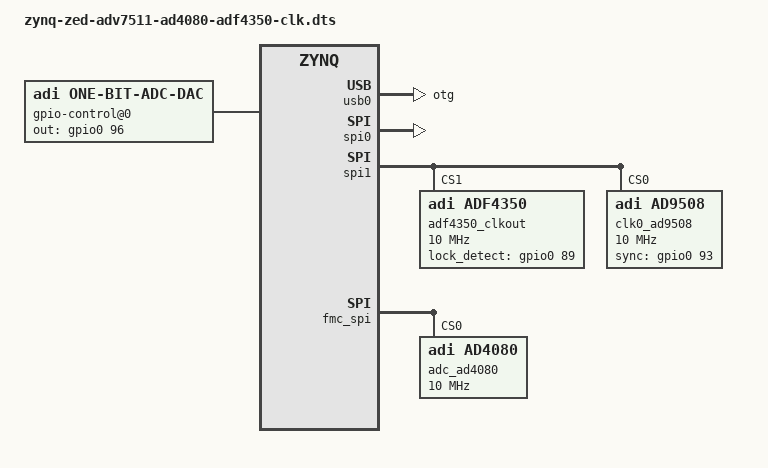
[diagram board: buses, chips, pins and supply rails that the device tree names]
// SPDX-License-Identifier: GPL-2.0
/*
 * Analog Devices ad4080
 * https://wiki.analog.com/resources/tools-software/linux-drivers/iio-adc/axi-adc-hdl
 * https://wiki.analog.com/resources/eval/ad4080-fmc-250ebz
 * https://wiki.analog.com/resources/fpga/xilinx/fmc/ad4080
 *
 * hdl_project: <ad4080_fmc/zed>
 * board_revision: <>
 *
 * Copyright (C) 2016-2019 Analog Devices Inc.
 */
/dts-v1/;

#include "zynq-zed.dtsi"
#include "zynq-zed-adv7511.dtsi"
#include <dt-bindings/iio/frequency/ad9508.h>

&usb0 {
	dr_mode = "otg";
};

&fpga_axi {
	rx_dma: rx-dmac@44a30000 {
		compatible = "adi,axi-dmac-1.00.a";
		reg = <0x44A30000 0x10000>;
		#dma-cells = <1>;
		interrupts = <0 57 IRQ_TYPE_LEVEL_HIGH>;
		clocks = <&clkc 16>;

		adi,channels {
			#size-cells = <0>;
			#address-cells = <1>;

			dma-channel@0 {
				reg = <0>;
				adi,source-bus-width = <32>;
				adi,source-bus-type = <2>;
				adi,destination-bus-width = <64>;
				adi,destination-bus-type = <0>;
			};
		};
	};

	ad4080: ad4080@44a00000 {
		compatible = "adi,axi-adc-10.0.a";
		reg = <0x44A00000 0x10000>;
		dmas = <&rx_dma 0>;
		dma-names = "rx";

		spibus-connected = <&adc_ad4080>;
	};
};

&spi0 {
	status = "okay";
};

&spi1 {
	status = "okay";
};

#define fmc_spi spi0

/ {
	adf4350_clkin: adf4350_clkin {
		compatible = "fixed-clock";
		#clock-cells = <0>;
		clock-frequency = <25000000>;
	};

	gpio-control@0 {
		compatible = "adi,one-bit-adc-dac";
		#address-cells = <1>;
		#size-cells = <0>;
		out-gpios = <&gpio0 96 0>;
		channel@0 {
			reg = <0>;
			label = "SYNC_N";
		};
	};
};

&fmc_spi {
	adc_ad4080: adc_ad4080@0 {
		compatible = "adi,ad4080";
		reg = <0>;
		spi-max-frequency = <10000000>;
		clocks = <&clk0_ad9508 2>;
		clock-names = "adc_clk";
		num_lanes = <1>;
	};

};

&spi1 {
	adf4350_clkout: adf4350@1 {
		#address-cells = <1>;
		#size-cells = <0>;
		compatible = "adi,adf4350";
		reg = <1>;
		spi-max-frequency = <10000000>;
		#clock-cells = <0>;
		clock-output-names = "adf4350-out";
		assigned-clocks = <&adf4350_clkout>;
                assigned-clock-rates = <400000000>;
		clocks = <&adf4350_clkin>;
		clock-names = "clkin";
		adi,reference-div-factor = <1>;
		adi,channel-spacing = <100000>;
		adi,lock-detect-function-integer-n-enable;
		adi,anti-backlash-3ns-enable;
		adi,muxout-select = <6>;
		adi,power-up-frequency = <400000000>;
		adi,phase-detector-polarity-positive-enable;
		adi,charge-pump-current = <5000>;
		adi,output-power = <1>;
		lock_detect-gpios = <&gpio0 89 0>;
	};

	clk0_ad9508: ad9508@0 {
		#address-cells = <1>;
		#size-cells = <0>;
		#clock-cells = <1>;
		compatible = "adi,ad9508";
		reg = <0>;
		spi-cpol;
		spi-cpha;

		clocks = <&adf4350_clkout>;

		spi-max-frequency = <10000000>;
		clock-output-names = "ad9508-1_out0", "ad9508-1_out1", "ad9508-1_out2", "ad9508-1_out3";
		sync-gpios = <&gpio0 93 0>;

		ad9508_0_c0:channel@0 {
			reg = <0>;
			adi,extended-name = "CNV_COPY";
			adi,driver-mode = <(DRIVER_PHASE_NORMAL | DRIVER_MODE_LVDS_1_25)>;
			adi,divider-phase = <0>;
			adi,channel-divider = <10>;
		};

		ad9508_0_c1:channel@1 {
			reg = <1>;
			adi,extended-name = "CLK10M";
			adi,driver-mode = <(DRIVER_PHASE_NORMAL | DRIVER_MODE_LVDS_1_00)>;
			adi,divider-phase = <0>;
			adi,channel-divider = <40>;
		};

		ad9508_0_c2:channel@2 {
			reg = <2>;
			adi,extended-name = "CNV";
			adi,driver-mode = <(DRIVER_PHASE_NORMAL | DRIVER_MODE_LVDS_1_25)>;
			adi,divider-phase = <0>;
			adi,channel-divider = <10>;
		};

		ad9508_0_c3:channel@3 {
			reg = <3>;
			adi,extended-name = "MACH1_CLK";
			adi,driver-mode = <(DRIVER_PHASE_NORMAL | DRIVER_MODE_LVDS_1_25)>;
			adi,divider-phase = <0>;
			adi,channel-divider = <1>;
		};

	};
};
